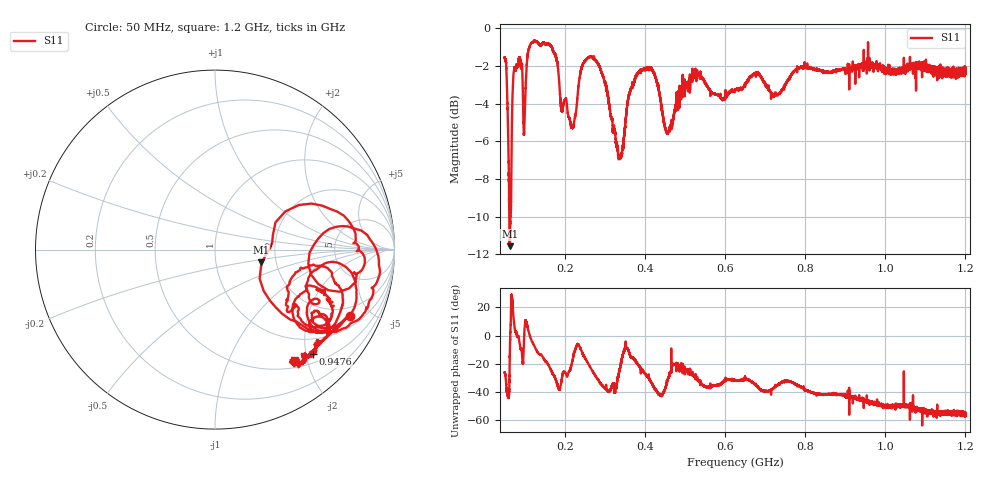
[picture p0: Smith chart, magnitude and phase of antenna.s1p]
! Calibrated NanoVNA antenna measurement, band-limited to the calibrated dynamic range
! Samples with nonfinite or |Gamma| >= 1 were excluded; see broadband-excluded.json
# Hz S RI R 50
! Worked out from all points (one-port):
!   40000 points, 50 MHz to 1.2 GHz, reference 50 ohm
!   lowest |S11| = -11.6 dB at 62.88 MHz (marker M1), VSWR 1.72, Z = 82.9 - j12.6 ohm
!   |S11| at or under -10 dB: 61.60935 MHz to 61.62005 MHz (10.69 kHz wide, 0.0174 % of centre); 61.69 MHz to 64.63 MHz (2.944 MHz wide, 4.66 % of centre)
!   S11 on the Smith chart (normalised r, x): 50 MHz: 1.51, -3.73; 947.6 MHz: 0.67, -2.14; 1.2 GHz: 0.50, -1.72
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5e7  0.7513 -0.3689
5.675625e7  0.4849 -0.426
6.288e7  0.2543 -0.0705
6.89175e7  0.5601 0.2552
7.653625e7  0.7804 0.0432
9.194625e7  0.7785 -0.1268
9.968e7  0.5624 0.0455
1.057175e8  0.8053 0.1094
1.193738e8  0.9127 -0.0771
1.799788e8  0.6914 -0.4526
1.9375e8  0.5283 -0.2896
2.312688e8  0.6422 -0.069
2.5746e8  0.7883 -0.2752
3.013325e8  0.568 -0.4291
3.375e8  0.4159 -0.1819
3.53025e8  0.5748 -0.091
3.796762e8  0.7093 -0.2489
4.280912e8  0.5694 -0.4601
4.506888e8  0.4308 -0.331
4.8125e8  0.5975 -0.2355
5.44155e8  0.6033 -0.422
6.25e8  0.5836 -0.3598
7.174888e8  0.5274 -0.4163
7.6875e8  0.6366 -0.4183
9.125e8  0.5635 -0.5312
9.476325e8  0.5468 -0.5811
1.05625e9  0.5049 -0.6056
1.2e9  0.4242 -0.6609
